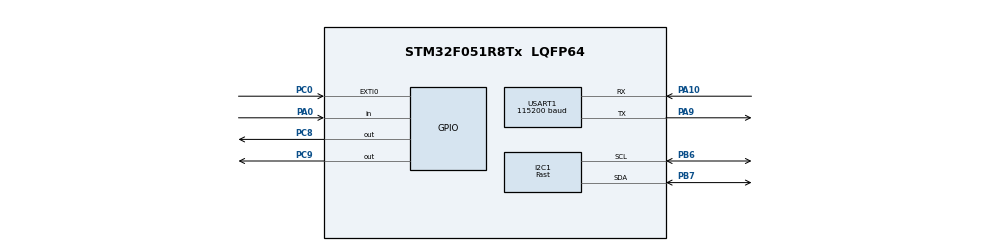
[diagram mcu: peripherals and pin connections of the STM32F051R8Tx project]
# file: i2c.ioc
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I2C1.I2C_Fall_Time=30
I2C1.I2C_Rise_Time=20
I2C1.I2C_Speed_Mode=I2C_Fast
I2C1.Timing=0x0000020B
Mcu.Family=STM32F0
Mcu.Name=STM32F051R8Tx
Mcu.Package=LQFP64
NVIC.EXTI0_1_IRQn=true\:0\:0\:false\:true\:true\:2\:true\:true
NVIC.TIM6_DAC_IRQn=true\:0\:0\:false\:true\:true\:1\:true\:true
NVIC.USART1_IRQn=true\:0\:0\:false\:true\:true\:3\:true\:true
PA0.Signal=GPIO_Input
PA10.Mode=Asynchronous
PA10.Signal=USART1_RX
PA13.Mode=Serial_Wire
PA13.Signal=SYS_SWDIO
PA14.Mode=Serial_Wire
PA14.Signal=SYS_SWCLK
PA9.Mode=Asynchronous
PA9.Signal=USART1_TX
PB6.GPIO_PuPdOD=GPIO_NOPULL
PB6.Mode=I2C
PB6.Signal=I2C1_SCL
PB7.GPIO_PuPdOD=GPIO_NOPULL
PB7.Mode=I2C
PB7.Signal=I2C1_SDA
PC0.GPIO_PuPd=GPIO_PULLUP
PC0.Signal=GPXTI0
PC8.Signal=GPIO_Output
PC9.Signal=GPIO_Output
ProjectManager.HeapSize=0x200
ProjectManager.StackSize=0x400
ProjectManager.TargetToolchain=MDK-ARM V5.27
TIM6.AutoReloadPreload=TIM_AUTORELOAD_PRELOAD_ENABLE
TIM6.Period=999
TIM6.Prescaler=7999
USART1.BaudRate=115200
USART1.VirtualMode-Asynchronous=VM_ASYNC
VP_TIM6_VS_ClockSourceINT.Mode=Enable_Timer
board=custom

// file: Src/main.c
/* USER CODE BEGIN Header */
/**
  ******************************************************************************
  * @file           : main.c
  * @brief          : Main program body
  ******************************************************************************
  * @attention
  *
  * <h2><center>&copy; Copyright (c) 2020 STMicroelectronics.
  * All rights reserved.</center></h2>
  *
  * This software component is licensed by ST under BSD 3-Clause license,
  * the "License"; You may not use this file except in compliance with the
  * License. You may obtain a copy of the License at:
  *                        opensource.org/licenses/BSD-3-Clause
  *
  ******************************************************************************
  */
/* USER CODE END Header */

#include "main.h"
#include "stdio.h"

I2C_HandleTypeDef hi2c1;

TIM_HandleTypeDef htim6;

UART_HandleTypeDef huart1;

void SystemClock_Config(void);
static void MX_GPIO_Init(void);
static void MX_TIM6_Init(void);
static void MX_USART1_UART_Init(void);
static void MX_I2C1_Init(void);
static void MX_NVIC_Init(void);
/* USER CODE BEGIN PFP */

uint8_t rx_data = 0;
int step = 0;

/* USER CODE END PFP */

/* USER CODE BEGIN 0 */
void HAL_GPIO_EXTI_Callback(uint16_t GPIO_Pin)
{
	if (GPIO_Pin == GPIO_PIN_0){
//		if(HAL_GPIO_ReadPin(GPIOC, GPIO_PIN_0) == GPIO_PIN_RESET){
			HAL_GPIO_WritePin(GPIOC, GPIO_PIN_9,GPIO_PIN_SET);
			HAL_TIM_Base_Start_IT(&htim6);
//		}
	}
}

void HAL_TIM_PeriodElapsedCallback(TIM_HandleTypeDef *htim)
{
	if(htim->Instance == TIM6){
		if (step < 3){
			step++;
			HAL_GPIO_TogglePin(GPIOC, GPIO_PIN_8);
		}
		else{
			HAL_GPIO_WritePin(GPIOC, GPIO_PIN_8,GPIO_PIN_RESET);
			HAL_GPIO_WritePin(GPIOC, GPIO_PIN_9,GPIO_PIN_RESET);
			step = 0;
			HAL_TIM_Base_Stop_IT(&htim6);
		}
	}
}

void HAL_UART_RxCpltCallback(UART_HandleTypeDef *huart)
{
	if(huart->Instance == USART1){
		HAL_UART_Receive_IT(&huart1, &rx_data, 1);
		HAL_UART_Transmit(&huart1, &rx_data, 1, 10);
	}
}

/* USER CODE END 0 */

int main(void)
{

  /* MCU Configuration--------------------------------------------------------*/

  /* Reset of all peripherals, Initializes the Flash interface and the Systick. */
  HAL_Init();

  /* Configure the system clock */
  SystemClock_Config();

  /* Initialize all configured peripherals */
  MX_GPIO_Init();
  MX_TIM6_Init();
  MX_USART1_UART_Init();
  MX_I2C1_Init();

  /* Initialize interrupts */
  MX_NVIC_Init();
  /* USER CODE BEGIN 2 */
	//HAL_TIM_Base_Start_IT(&htim6);ADC
	uint8_t msg[20];
	uint8_t eeprom[10] = {0x00, 0x11, 0x22, 0x33, 0x44, 0x55, 0x66, 0x77, 0x88, 0x99};
	// params : i2c module address, slave addr, slave reg addr, i2c data format, data, data-size(per byte), time-out period
	HAL_I2C_Mem_Write(&hi2c1, 0xA0, 0x00, I2C_MEMADD_SIZE_8BIT, eeprom, 10, 10);

	HAL_Delay(3); // ********************* need at least 3 ms delay - can not read i2c (because of eeprom)

	for(int i =0; i<10; i++) eeprom[i] = 0x00; // clear eeprom mem - for read slave and compare.

	// params : i2c module address, slave addr, slave reg addr, i2c data format, data, data-size(per byte), time-out period
	HAL_I2C_Mem_Read(&hi2c1, 0xA0, 0x00, I2C_MEMADD_SIZE_8BIT, eeprom, 10, 10);

	sprintf((char*)msg, "%02x %02x %02x %02x\n\r", eeprom[0], eeprom[1], eeprom[2], eeprom[3]);
	HAL_UART_Transmit(&huart1, msg, 20, 20);
	//printf("%s", msg);
	sprintf((char*)msg, "%02x %02x %02x %02x\n\r", eeprom[4], eeprom[5], eeprom[6], eeprom[7]);
	HAL_UART_Transmit(&huart1, msg, 20, 20);
	//printf("%s", msg);
  /* USER CODE END 2 */

  /* Infinite loop */
  while (1)
  {
		HAL_I2C_Mem_Write(&hi2c1, 0xA0, 0x00, I2C_MEMADD_SIZE_8BIT, eeprom, 10, 10);

		//HAL_Delay(3); // ********************* need at least 3 ms delay - can not read i2c (because of eeprom)

		for(int i =0; i<10; i++) eeprom[i] = 0x00; // clear eeprom mem - for read slave and compare.

		// params : i2c module address, slave addr, slave reg addr, i2c data format, data, data-size(per byte), time-out period
		HAL_I2C_Mem_Read(&hi2c1, 0xA0, 0x00, I2C_MEMADD_SIZE_8BIT, eeprom, 10, 10);

		//sprintf((char*)msg, "%02x %02x %02x %02x\n\r", eeprom[0], eeprom[1], eeprom[2], eeprom[3]);
		HAL_UART_Transmit(&huart1, msg, 20, 20);
		//printf("%s", msg);
		//sprintf((char*)msg, "%02x %02x %02x %02x\n\r", eeprom[4], eeprom[5], eeprom[6], eeprom[7]);
		HAL_UART_Transmit(&huart1, msg, 20, 20);

  }
}

void SystemClock_Config(void)
{
  RCC_OscInitTypeDef RCC_OscInitStruct = {0};
  RCC_ClkInitTypeDef RCC_ClkInitStruct = {0};
  RCC_PeriphCLKInitTypeDef PeriphClkInit = {0};

  /** Initializes the CPU, AHB and APB busses clocks
  */
  RCC_OscInitStruct.OscillatorType = RCC_OSCILLATORTYPE_HSI;
  RCC_OscInitStruct.HSIState = RCC_HSI_ON;
  RCC_OscInitStruct.HSICalibrationValue = RCC_HSICALIBRATION_DEFAULT;
  RCC_OscInitStruct.PLL.PLLState = RCC_PLL_NONE;
  if (HAL_RCC_OscConfig(&RCC_OscInitStruct) != HAL_OK)
  {
    Error_Handler();
  }
  /** Initializes the CPU, AHB and APB busses clocks
  */
  RCC_ClkInitStruct.ClockType = RCC_CLOCKTYPE_HCLK|RCC_CLOCKTYPE_SYSCLK
                              |RCC_CLOCKTYPE_PCLK1;
  RCC_ClkInitStruct.SYSCLKSource = RCC_SYSCLKSOURCE_HSI;
  RCC_ClkInitStruct.AHBCLKDivider = RCC_SYSCLK_DIV1;
  RCC_ClkInitStruct.APB1CLKDivider = RCC_HCLK_DIV1;

  if (HAL_RCC_ClockConfig(&RCC_ClkInitStruct, FLASH_LATENCY_0) != HAL_OK)
  {
    Error_Handler();
  }
  PeriphClkInit.PeriphClockSelection = RCC_PERIPHCLK_USART1|RCC_PERIPHCLK_I2C1;
  PeriphClkInit.Usart1ClockSelection = RCC_USART1CLKSOURCE_PCLK1;
  PeriphClkInit.I2c1ClockSelection = RCC_I2C1CLKSOURCE_HSI;
  if (HAL_RCCEx_PeriphCLKConfig(&PeriphClkInit) != HAL_OK)
  {
    Error_Handler();
  }
}

/**
  * @brief NVIC Configuration.
  * @retval None
  */
static void MX_NVIC_Init(void)
{
  /* TIM6_DAC_IRQn interrupt configuration */
  HAL_NVIC_SetPriority(TIM6_DAC_IRQn, 0, 0);
  HAL_NVIC_EnableIRQ(TIM6_DAC_IRQn);
  /* EXTI0_1_IRQn interrupt configuration */
  HAL_NVIC_SetPriority(EXTI0_1_IRQn, 1, 0);
  HAL_NVIC_EnableIRQ(EXTI0_1_IRQn);
  /* USART1_IRQn interrupt configuration */
  HAL_NVIC_SetPriority(USART1_IRQn, 2, 0);
  HAL_NVIC_EnableIRQ(USART1_IRQn);
}

static void MX_I2C1_Init(void)
{

  /* USER CODE BEGIN I2C1_Init 0 */
	// **** can not see gpio settings, but default i2c gpio is pull-up. so if you wanna change pull setting, do cubeMx or directly set gpio using code.
  /* USER CODE END I2C1_Init 0 */

  hi2c1.Instance = I2C1;
  hi2c1.Init.Timing = 0x0000020B;
  hi2c1.Init.OwnAddress1 = 0;
  hi2c1.Init.AddressingMode = I2C_ADDRESSINGMODE_7BIT;
  hi2c1.Init.DualAddressMode = I2C_DUALADDRESS_DISABLE;
  hi2c1.Init.OwnAddress2 = 0;
  hi2c1.Init.OwnAddress2Masks = I2C_OA2_NOMASK;
  hi2c1.Init.GeneralCallMode = I2C_GENERALCALL_DISABLE;
  hi2c1.Init.NoStretchMode = I2C_NOSTRETCH_DISABLE;
  if (HAL_I2C_Init(&hi2c1) != HAL_OK)
  {
    Error_Handler();
  }
  /** Configure Analogue filter
  */
  if (HAL_I2CEx_ConfigAnalogFilter(&hi2c1, I2C_ANALOGFILTER_ENABLE) != HAL_OK)
  {
    Error_Handler();
  }
  /** Configure Digital filter
  */
  if (HAL_I2CEx_ConfigDigitalFilter(&hi2c1, 0) != HAL_OK)
  {
    Error_Handler();
  }

}

static void MX_TIM6_Init(void)
{

  TIM_MasterConfigTypeDef sMasterConfig = {0};

  htim6.Instance = TIM6;
  htim6.Init.Prescaler = 7999;
  htim6.Init.CounterMode = TIM_COUNTERMODE_UP;
  htim6.Init.Period = 999;
  htim6.Init.AutoReloadPreload = TIM_AUTORELOAD_PRELOAD_ENABLE;
  if (HAL_TIM_Base_Init(&htim6) != HAL_OK)
  {
    Error_Handler();
  }
  sMasterConfig.MasterOutputTrigger = TIM_TRGO_RESET;
  sMasterConfig.MasterSlaveMode = TIM_MASTERSLAVEMODE_DISABLE;
  if (HAL_TIMEx_MasterConfigSynchronization(&htim6, &sMasterConfig) != HAL_OK)
  {
    Error_Handler();
  }

}

static void MX_USART1_UART_Init(void)
{

  huart1.Instance = USART1;
  huart1.Init.BaudRate = 115200;
  huart1.Init.WordLength = UART_WORDLENGTH_8B;
  huart1.Init.StopBits = UART_STOPBITS_1;
  huart1.Init.Parity = UART_PARITY_NONE;
  huart1.Init.Mode = UART_MODE_TX_RX;
  huart1.Init.HwFlowCtl = UART_HWCONTROL_NONE;
  huart1.Init.OverSampling = UART_OVERSAMPLING_16;
  huart1.Init.OneBitSampling = UART_ONE_BIT_SAMPLE_DISABLE;
  huart1.AdvancedInit.AdvFeatureInit = UART_ADVFEATURE_NO_INIT;
  if (HAL_UART_Init(&huart1) != HAL_OK)
  {
    Error_Handler();
  }

}

static void MX_GPIO_Init(void)
{
  GPIO_InitTypeDef GPIO_InitStruct = {0};

  /* GPIO Ports Clock Enable */
  __HAL_RCC_GPIOC_CLK_ENABLE();
  __HAL_RCC_GPIOA_CLK_ENABLE();
  __HAL_RCC_GPIOB_CLK_ENABLE();

  /*Configure GPIO pin Output Level */
  HAL_GPIO_WritePin(GPIOC, GPIO_PIN_8|GPIO_PIN_9, GPIO_PIN_RESET);

  /*Configure GPIO pin : PC0 */
  GPIO_InitStruct.Pin = GPIO_PIN_0;
  GPIO_InitStruct.Mode = GPIO_MODE_IT_FALLING;
  GPIO_InitStruct.Pull = GPIO_PULLUP;
  HAL_GPIO_Init(GPIOC, &GPIO_InitStruct);

  /*Configure GPIO pin : PA0 */
  GPIO_InitStruct.Pin = GPIO_PIN_0;
  GPIO_InitStruct.Mode = GPIO_MODE_INPUT;
  GPIO_InitStruct.Pull = GPIO_NOPULL;
  HAL_GPIO_Init(GPIOA, &GPIO_InitStruct);

  /*Configure GPIO pins : PC8 PC9 */
  GPIO_InitStruct.Pin = GPIO_PIN_8|GPIO_PIN_9;
  GPIO_InitStruct.Mode = GPIO_MODE_OUTPUT_PP;
  GPIO_InitStruct.Pull = GPIO_NOPULL;
  GPIO_InitStruct.Speed = GPIO_SPEED_FREQ_LOW;
  HAL_GPIO_Init(GPIOC, &GPIO_InitStruct);

}

void Error_Handler(void)
{
}

/************************ (C) COPYRIGHT STMicroelectronics *****END OF FILE****/
